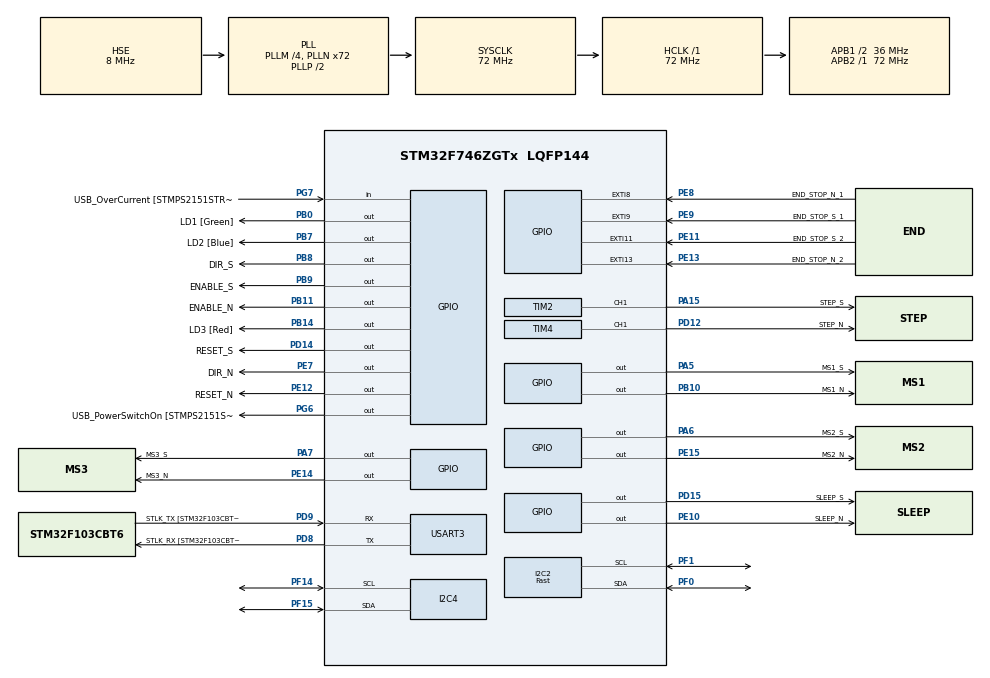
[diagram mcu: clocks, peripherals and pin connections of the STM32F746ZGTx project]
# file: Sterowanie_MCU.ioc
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I2C2.I2C_Speed_Mode=I2C_Fast
I2C2.Timing=0x00301739
I2C4.Timing=0x00808CD2
Mcu.Family=STM32F7
Mcu.Name=STM32F746ZGTx
Mcu.Package=LQFP144
NVIC.EXTI15_10_IRQn=true\:0\:0\:false\:false\:true\:true\:true\:true
NVIC.EXTI9_5_IRQn=true\:0\:0\:false\:false\:true\:true\:true\:true
NVIC.PriorityGroup=NVIC_PRIORITYGROUP_3
NVIC.TIM3_IRQn=true\:0\:1\:true\:false\:true\:true\:true\:true
NVIC.TIM5_IRQn=true\:0\:0\:false\:false\:true\:true\:true\:true
NVIC.TIM6_DAC_IRQn=true\:0\:0\:false\:false\:true\:true\:true\:true
NVIC.TIM7_IRQn=true\:0\:0\:false\:false\:true\:true\:true\:true
PA13.GPIO_Label=TMS
PA13.Mode=Serial_Wire
PA13.Signal=SYS_JTMS-SWDIO
PA14.GPIO_Label=TCK
PA14.Mode=Serial_Wire
PA14.Signal=SYS_JTCK-SWCLK
PA15.GPIO_Label=STEP_S
PA15.Signal=S_TIM2_CH1_ETR
PA5.GPIO_Label=MS1_S
PA5.Signal=GPIO_Output
PA6.GPIO_Label=MS2_S
PA6.Signal=GPIO_Output
PA7.GPIO_Label=MS3_S
PA7.Signal=GPIO_Output
PB0.GPIO_Label=LD1 [Green]
PB0.Signal=GPIO_Output
PB10.GPIO_Label=MS1_N
PB10.Signal=GPIO_Output
PB11.GPIO_Label=ENABLE_N
PB11.Signal=GPIO_Output
PB14.GPIO_Label=LD3 [Red]
PB14.Signal=GPIO_Output
PB7.GPIO_Label=LD2 [Blue]
PB7.Signal=GPIO_Output
PB8.GPIO_Label=DIR_S
PB8.Signal=GPIO_Output
PB9.GPIO_Label=ENABLE_S
PB9.Signal=GPIO_Output
PC14/OSC32_IN.Mode=LSE-External-Oscillator
PC14/OSC32_IN.Signal=RCC_OSC32_IN
PC15/OSC32_OUT.Mode=LSE-External-Oscillator
PC15/OSC32_OUT.Signal=RCC_OSC32_OUT
PD12.GPIO_Label=STEP_N
PD12.Signal=S_TIM4_CH1
PD14.GPIO_Label=RESET_S
PD14.Signal=GPIO_Output
PD15.GPIO_Label=SLEEP_S
PD15.Signal=GPIO_Output
PD8.GPIO_Label=STLK_RX [STM32F103CBT6_PA3]
PD8.Mode=Asynchronous
PD8.Signal=USART3_TX
PD9.GPIO_Label=STLK_TX [STM32F103CBT6_PA2]
PD9.Mode=Asynchronous
PD9.Signal=USART3_RX
PE10.GPIO_Label=SLEEP_N
PE10.Signal=GPIO_Output
PE11.GPIO_Label=END_STOP_S_2
PE11.GPIO_ModeDefaultEXTI=GPIO_MODE_IT_FALLING
PE11.GPIO_PuPd=GPIO_PULLUP
PE11.Signal=GPXTI11
PE12.GPIO_Label=RESET_N
PE12.Signal=GPIO_Output
PE13.GPIO_Label=END_STOP_N_2
PE13.GPIO_ModeDefaultEXTI=GPIO_MODE_IT_FALLING
PE13.GPIO_PuPd=GPIO_PULLUP
PE13.Signal=GPXTI13
PE14.GPIO_Label=MS3_N
PE14.Signal=GPIO_Output
PE15.GPIO_Label=MS2_N
PE15.Signal=GPIO_Output
PE7.GPIO_Label=DIR_N
PE7.Signal=GPIO_Output
PE8.GPIO_Label=END_STOP_N_1
PE8.GPIO_ModeDefaultEXTI=GPIO_MODE_IT_FALLING
PE8.GPIO_PuPd=GPIO_PULLUP
PE8.Signal=GPXTI8
PE9.GPIO_Label=END_STOP_S_1
PE9.GPIO_ModeDefaultEXTI=GPIO_MODE_IT_FALLING
PE9.GPIO_PuPd=GPIO_PULLUP
PE9.Signal=GPXTI9
PF0.Mode=I2C
PF0.Signal=I2C2_SDA
PF1.Mode=I2C
PF1.Signal=I2C2_SCL
PF14.Mode=I2C
PF14.Signal=I2C4_SCL
PF15.Mode=I2C
PF15.Signal=I2C4_SDA
PG6.GPIO_Label=USB_PowerSwitchOn [STMPS2151STR_EN]
PG6.Signal=GPIO_Output
PG7.GPIO_Label=USB_OverCurrent [STMPS2151STR_FAULT]
PG7.Signal=GPIO_Input
PH0/OSC_IN.GPIO_Label=MCO [STM32F103CBT6_PA8]
PH0/OSC_IN.Mode=HSE-External-Clock-Source
PH0/OSC_IN.Signal=RCC_OSC_IN
PH1/OSC_OUT.Mode=HSE-External-Clock-Source
PH1/OSC_OUT.Signal=RCC_OSC_OUT
ProjectManager.HeapSize=0x200
ProjectManager.StackSize=0x400
ProjectManager.TargetToolchain=STM32CubeIDE
RCC.48MHZClocksFreq_Value=24000000
RCC.AHBFreq_Value=72000000
RCC.APB1CLKDivider=RCC_HCLK_DIV2
RCC.APB1Freq_Value=36000000
RCC.APB1TimFreq_Value=72000000
RCC.APB2Freq_Value=72000000
RCC.APB2TimFreq_Value=72000000
RCC.CortexFreq_Value=72000000
RCC.HCLKFreq_Value=72000000
RCC.HSE_VALUE=8000000
RCC.HSI_VALUE=16000000
RCC.PLLM=4
RCC.PLLMUL=RCC_PLL_MUL9
RCC.PLLN=72
RCC.PLLQ=3
RCC.PLLSourceVirtual=RCC_PLLSOURCE_HSE
RCC.PRESCALERUSB=RCC_USBCLKSOURCE_PLL_DIV1_5
RCC.SYSCLKFreq_VALUE=72000000
RCC.SYSCLKSource=RCC_SYSCLKSOURCE_PLLCLK
RCC.SYSCLKSourceVirtual=RCC_SYSCLKSOURCE_PLLCLK
RCC.USBFreq_Value=48000000
RCC.VCOOutputFreq_Value=144000000
SH.S_TIM2_CH1_ETR.0=TIM2_CH1,PWM Generation1 CH1
SH.S_TIM4_CH1.0=TIM4_CH1,PWM Generation1 CH1
TIM2.Channel-PWM\ Generation1\ CH1=TIM_CHANNEL_1
TIM2.Period=999
TIM2.Prescaler=71
TIM2.Pulse-PWM\ Generation1\ CH1=499
TIM2.TIM_MasterOutputTrigger=TIM_TRGO_UPDATE
TIM3.Period=0
TIM4.Channel-PWM\ Generation1\ CH1=TIM_CHANNEL_1
TIM4.Period=999
TIM4.Prescaler=71
TIM4.Pulse-PWM\ Generation1\ CH1=499
TIM4.TIM_MasterOutputTrigger=TIM_TRGO_UPDATE
TIM5.Period=0
TIM6.AutoReloadPreload=TIM_AUTORELOAD_PRELOAD_ENABLE
TIM6.Period=1999
TIM6.Prescaler=7199
TIM7.AutoReloadPreload=TIM_AUTORELOAD_PRELOAD_ENABLE
TIM7.Period=1999
TIM7.Prescaler=7199
USART3.VirtualMode-Asynchronous=VM_ASYNC
VP_TIM2_VS_ClockSourceINT.Mode=Internal
VP_TIM3_VS_ClockSourceITR.Mode=TriggerSource_ITR1
VP_TIM3_VS_ControllerModeClock.Mode=Clock Mode
VP_TIM4_VS_ClockSourceINT.Mode=Internal
VP_TIM5_VS_ClockSourceITR.Mode=TriggerSource_ITR2
VP_TIM5_VS_ControllerModeClock.Mode=Clock Mode
VP_TIM6_VS_ClockSourceINT.Mode=Enable_Timer
VP_TIM7_VS_ClockSourceINT.Mode=Enable_Timer
board=NUCLEO-F746ZG

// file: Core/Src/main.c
/* USER CODE BEGIN Header */
/**
  ******************************************************************************
  * @file           : main.c
  * @brief          : Main program body
  ******************************************************************************
  * @attention
  *
  * Copyright (c) 2022 STMicroelectronics.
  * All rights reserved.
  *
  * This software is licensed under terms that can be found in the LICENSE file
  * in the root directory of this software component.
  * If no LICENSE file comes with this software, it is provided AS-IS.
  *
  ******************************************************************************
  */
/* USER CODE END Header */
#include "main.h"
#include "i2c.h"
#include "tim.h"
#include "usart.h"
#include "gpio.h"

/* USER CODE BEGIN Includes */
#include "A4988_Drive.h"
#include "VL6180X.h"
/* USER CODE END Includes */

/* USER CODE BEGIN PD */
#define FORWARD_NEEDLE 	RIGHT_DIR
#define BACK_NEEDLE 	LEFT_DIR
#define SUCK_SYRINGE	RIGHT_DIR
#define BLOW_SYRINGE	LEFT_DIR
/* USER CODE END PD */

/* USER CODE BEGIN PV */
//
// Motor controllers
//
A4988_Drive Syringe = {	.NAME = "SYRINGE",
						.STEPS = 200,
						.RESOLUTION = 1,
						.PORT_DIR = DIR_S_GPIO_Port,
						.PIN_DIR = DIR_S_Pin,
						.PORT_ENABLE = ENABLE_S_GPIO_Port,
						.PIN_ENABLE = ENABLE_S_Pin,
						.PORT_MS1 = MS1_S_GPIO_Port,
						.PIN_MS1 = MS1_S_Pin,
						.PORT_MS2 = MS2_S_GPIO_Port,
						.PIN_MS2 = MS2_S_Pin,
						.PORT_MS3 = MS3_S_GPIO_Port,
						.PIN_MS3 = MS3_S_Pin,
						.STEP_mm_RESOLUTION = 0.005
						,.PORT_RESET = RESET_S_GPIO_Port,
						.PIN_RESET = RESET_S_Pin,
						.PORT_SLEEP = SLEEP_S_GPIO_Port ,
						.PIN_SLEEP = SLEEP_S_Pin
						};
A4988_Drive Needle = {	.NAME = "NEEDLE",
						.STEPS = 200,
						.RESOLUTION = 1,
						.STEP_mm_RESOLUTION = 0.005
						,.PORT_DIR = DIR_N_GPIO_Port,
						.PIN_DIR = DIR_N_Pin,
						.PORT_ENABLE = ENABLE_N_GPIO_Port,
						.PIN_ENABLE = ENABLE_N_Pin,
						.PORT_MS1 = MS1_N_GPIO_Port,
						.PIN_MS1 = MS1_N_Pin,
						.PORT_MS2 = MS2_N_GPIO_Port,
						.PIN_MS2 = MS2_N_Pin,
						.PORT_MS3 = MS3_N_GPIO_Port,
						.PIN_MS3 = MS3_N_Pin,
						.PORT_RESET = RESET_N_GPIO_Port,
						.PIN_RESET = RESET_N_Pin,
						.PORT_SLEEP = SLEEP_N_GPIO_Port,
						.PIN_SLEEP = SLEEP_N_Pin
						};
//
// Distance Sensors
//
VL6180X_ Syringe_sensor;
VL6180X_ Needle_sensor;
volatile uint16_t MESURE_needle = 0;
volatile uint16_t MESURE_syringe = 0;
//
// Control
//
volatile uint16_t Set_distance_needle = 0;
volatile uint16_t Set_distance_syringe = 0;
/* USER CODE END PV */

void SystemClock_Config(void);

int main(void)
{

  /* MCU Configuration--------------------------------------------------------*/

  /* Reset of all peripherals, Initializes the Flash interface and the Systick. */
  HAL_Init();

  /* Configure the system clock */
  SystemClock_Config();

  /* Initialize all configured peripherals */
  MX_GPIO_Init();
  MX_USART3_UART_Init();
  MX_TIM2_Init();
  MX_TIM3_Init();
  MX_TIM4_Init();
  MX_TIM5_Init();
  MX_I2C2_Init();
  MX_TIM6_Init();
  MX_TIM7_Init();
  MX_I2C4_Init();
  /* USER CODE BEGIN 2 */
  // Drive initialization
Init_A4988(&Syringe);
Init_A4988(&Needle);
	// Sensor initialization
//VL6180X_Init(&Syringe_sensor, &hi2c4);
VL6180X_Init(&Needle_sensor, &hi2c2);
//configureDefault_VL6180X(&Syringe_sensor);
configureDefault_VL6180X(&Needle_sensor);
	// Measure timer Start
HAL_TIM_Base_Start_IT(&htim6); // Needle 	- 5Hz
HAL_TIM_Base_Start_IT(&htim7); // Syringe 	- 5Hz
// Initial measurement
MESURE_needle = readRangeSingleMillimeters_VL6180X(&Needle_sensor);
//MESURE_syringe = readRangeSingleMillimeters_VL6180X(&Syringe_sensor);
  /* USER CODE END 2 */

  /* Infinite loop */
  while (1)
  {

  }
}

void SystemClock_Config(void)
{
  RCC_OscInitTypeDef RCC_OscInitStruct = {0};
  RCC_ClkInitTypeDef RCC_ClkInitStruct = {0};

  /** Configure LSE Drive Capability
  */
  HAL_PWR_EnableBkUpAccess();

  /** Configure the main internal regulator output voltage
  */
  __HAL_RCC_PWR_CLK_ENABLE();
  __HAL_PWR_VOLTAGESCALING_CONFIG(PWR_REGULATOR_VOLTAGE_SCALE3);

  /** Initializes the RCC Oscillators according to the specified parameters
  * in the RCC_OscInitTypeDef structure.
  */
  RCC_OscInitStruct.OscillatorType = RCC_OSCILLATORTYPE_HSE;
  RCC_OscInitStruct.HSEState = RCC_HSE_BYPASS;
  RCC_OscInitStruct.PLL.PLLState = RCC_PLL_ON;
  RCC_OscInitStruct.PLL.PLLSource = RCC_PLLSOURCE_HSE;
  RCC_OscInitStruct.PLL.PLLM = 4;
  RCC_OscInitStruct.PLL.PLLN = 72;
  RCC_OscInitStruct.PLL.PLLP = RCC_PLLP_DIV2;
  RCC_OscInitStruct.PLL.PLLQ = 3;
  if (HAL_RCC_OscConfig(&RCC_OscInitStruct) != HAL_OK)
  {
    Error_Handler();
  }

  /** Initializes the CPU, AHB and APB buses clocks
  */
  RCC_ClkInitStruct.ClockType = RCC_CLOCKTYPE_HCLK|RCC_CLOCKTYPE_SYSCLK
                              |RCC_CLOCKTYPE_PCLK1|RCC_CLOCKTYPE_PCLK2;
  RCC_ClkInitStruct.SYSCLKSource = RCC_SYSCLKSOURCE_PLLCLK;
  RCC_ClkInitStruct.AHBCLKDivider = RCC_SYSCLK_DIV1;
  RCC_ClkInitStruct.APB1CLKDivider = RCC_HCLK_DIV2;
  RCC_ClkInitStruct.APB2CLKDivider = RCC_HCLK_DIV1;

  if (HAL_RCC_ClockConfig(&RCC_ClkInitStruct, FLASH_LATENCY_2) != HAL_OK)
  {
    Error_Handler();
  }
}

/* USER CODE BEGIN 4 */
//
// TIM callback
//
void HAL_TIM_PeriodElapsedCallback(TIM_HandleTypeDef *htim){
	// Motor driver callback
	if(htim->Instance == TIM3){	// Syringe
		HAL_TIM_PWM_Stop(&TIM_PWM_S, TIM_PWM_CHANNEL_S); // Stop syringe
	}
	else if(htim->Instance == TIM5){ // Needle
		HAL_TIM_PWM_Stop(&TIM_PWM_N, TIM_PWM_CHANNEL_N); // Stop needle
	}
	// Control callback
	else if (htim->Instance == TIM6) {
		MESURE_needle = readRangeSingleMillimeters_VL6180X(&Needle_sensor); // Measurement
		if(MESURE_needle > Set_distance_needle){
			HAL_TIM_PWM_Stop(&TIM_PWM_N, TIM_PWM_CHANNEL_N); // Stop needle
		}
	}
	else if (htim->Instance == TIM7) {
//		MESURE_syringe = readRangeSingleMillimeters_VL6180X(&Syringe_sensor); // Measurement
		if(MESURE_syringe > Set_distance_syringe){
			HAL_TIM_PWM_Stop(&TIM_PWM_S, TIM_PWM_CHANNEL_S); // Stop syringe
		}
	}
}
//
// Safety interlock (limit switch)
//
void HAL_GPIO_EXTI_Callback(uint16_t GPIO_Pin){
	if(GPIO_Pin == END_STOP_S_1_Pin){ // END STOP Syringe Near Drive
		HAL_TIM_PWM_Stop(&TIM_PWM_S, TIM_PWM_CHANNEL_S); // Stop syringe
		__HAL_TIM_SetCounter(&TIM_STEPS_COUNTER_S, 0); // Reset Counter Syringe
		Set_Direction_A4988(&Syringe, LEFT_DIR); // Set different direction
		Rotate_mm_A4988(&Syringe, 10); // Recoil
	}else if(GPIO_Pin == END_STOP_S_2_Pin){ // END STOP Syringe Near Syringe
		HAL_TIM_PWM_Stop(&TIM_PWM_S, TIM_PWM_CHANNEL_S); // Stop syringe
		__HAL_TIM_SetCounter(&TIM_STEPS_COUNTER_S, 0); // Reset Counter Syringe
		Set_Direction_A4988(&Syringe, RIGHT_DIR); // Set different direction
		Rotate_mm_A4988(&Syringe, 10); // Recoil
	}else if(GPIO_Pin == END_STOP_N_1_Pin){ // END STOP Needle Near Drive
		HAL_TIM_PWM_Stop(&TIM_PWM_N, TIM_PWM_CHANNEL_N); // Stop needle
		__HAL_TIM_SetCounter(&TIM_STEPS_COUNTER_N, 0); // Reset Counter Needle
		Set_Direction_A4988(&Needle, RIGHT_DIR); // Set different direction
		Rotate_mm_A4988(&Needle, 10); // Recoil
	}else if(GPIO_Pin == END_STOP_N_2_Pin){ // END STOP Needle Near Needle
		HAL_TIM_PWM_Stop(&TIM_PWM_N, TIM_PWM_CHANNEL_N); // Stop needle
		__HAL_TIM_SetCounter(&TIM_STEPS_COUNTER_N, 0); // Reset Counter Needle
		Set_Direction_A4988(&Needle, LEFT_DIR); // Set different direction
		Rotate_mm_A4988(&Needle, 10); // Recoil
	}
}
/* USER CODE END 4 */

void Error_Handler(void)
{
  __disable_irq();
  while (1)
  {
  }
}
